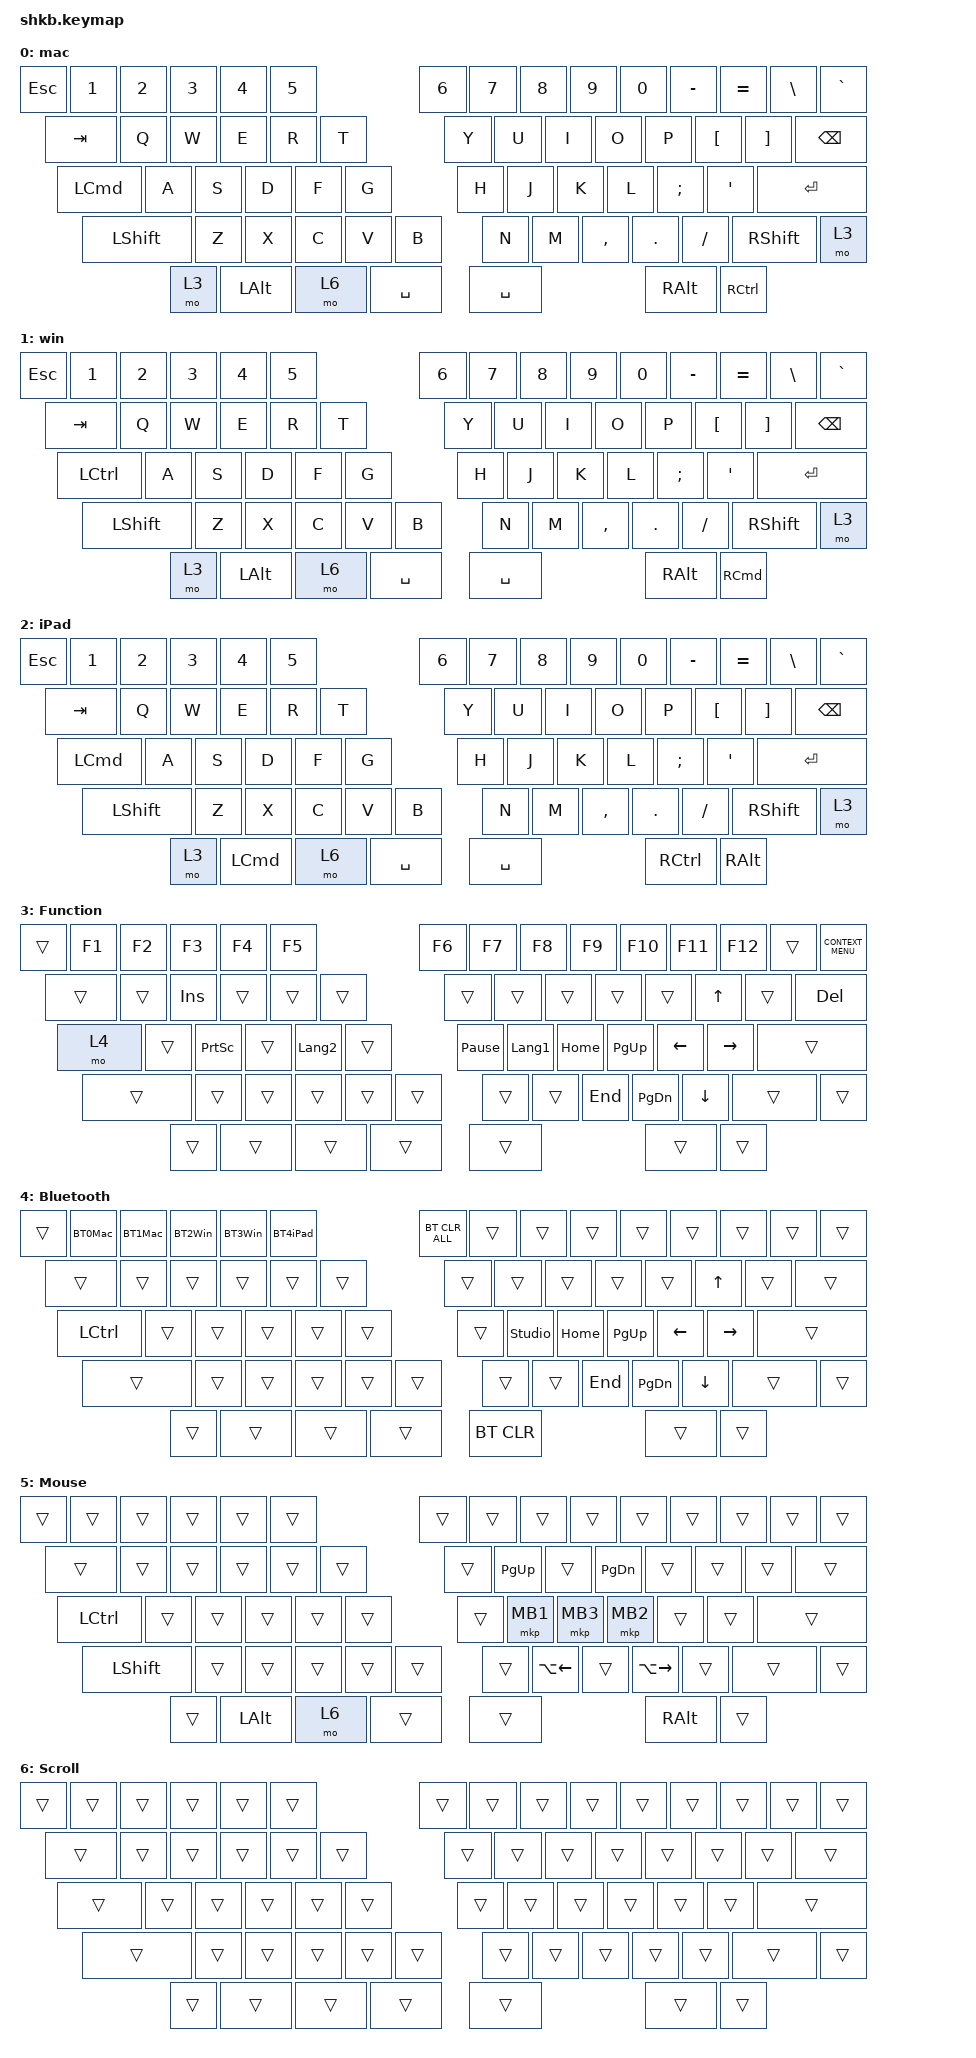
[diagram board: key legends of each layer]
#include <behaviors.dtsi>
#include <dt-bindings/zmk/bt.h>
#include <dt-bindings/zmk/keys.h>
#include <dt-bindings/zmk/pointing.h>

/*
 * 62-key Split HHKB layout
 *
 * Row 0 (15): ESC 1  2  3  4  5  | 6  7  8  9  0  -  =  \  `
 * Row 1 (14): TAB Q  W  E  R  T  | Y  U  I  O  P  [  ]  BSPC
 * Row 2 (13): CTL A  S  D  F  G  | H  J  K  L  ;  '  ENT
 * Row 3 (13): SFT Z  X  C  V  B  | N  M  ,  .  /  SFT UP
 * Row 4 ( 7): FN  CTL ALT SPC    | RALT GUI CTL
 */

&mt {
    flavor = "balanced";
    quick-tap-ms = <0>;
};

/ {
    chosen {
        zmk,keymap = &keymap;

        /* zmk,matrix-transform is intentionally absent: the transform is resolved
         * through zmk,physical-layout (set in each shield overlay) so that
         * USE_PHY_LAYOUTS=true, which ZMK Studio requires. */
    };

    macros {
        to_layer_0: to_layer_0 {
            compatible = "zmk,behavior-macro-one-param";
            #binding-cells = <1>;
            bindings = <&to 0 &macro_param_1to1 &kp MACRO_PLACEHOLDER>;
            label = "TO_LAYER_0";
        };

        BT0Mac: BT0Mac {
            compatible = "zmk,behavior-macro";
            #binding-cells = <0>;
            bindings = <&bt BT_SEL 0 &to 0>;
            label = "BT0MAC";
        };

        BT1Mac: BT1Mac {
            compatible = "zmk,behavior-macro";
            #binding-cells = <0>;
            bindings = <&bt BT_SEL 1 &to 0>;
            label = "BT1MAC";
        };

        BT2Win: BT2Win {
            compatible = "zmk,behavior-macro";
            #binding-cells = <0>;
            bindings = <&bt BT_SEL 2 &to 1>;
            label = "BT2WIN";
        };

        BT3Win: BT3Win {
            compatible = "zmk,behavior-macro";
            #binding-cells = <0>;
            bindings = <&bt BT_SEL 3 &to 1>;
            label = "BT3WIN";
        };

        BT4iPad: BT4iPad {
            compatible = "zmk,behavior-macro";
            #binding-cells = <0>;
            bindings = <&bt BT_SEL 4 &to 2>;
            label = "BT4IPAD";
        };
    };

    behaviors {
        lt_to_layer_0: lt_to_layer_0 {
            compatible = "zmk,behavior-hold-tap";
            label = "LT_TO_LAYER_0";
            bindings = <&mo>, <&to_layer_0>;

            #binding-cells = <2>;
            tapping-term-ms = <200>;
        };
    };

    combos {
        compatible = "zmk,combos";

        ScrollLayer {
            bindings = <&mo 6>;
            key-positions = <36 37>;
        };
    };

    keymap: keymap {
        compatible = "zmk,keymap";

        /* ---------------------------------------------------------------
         * Layer 0 – Default (HHKB base)
         * --------------------------------------------------------------- */

        mac {
            display-name = "mac";
            bindings = <
&kp ESC           &kp N1  &kp N2  &kp N3  &kp N4        &kp N5               &kp N6  &kp N7     &kp N8     &kp N9             &kp N0    &kp MINUS  &kp EQUAL  &kp BSLH  &kp GRAVE
&kp TAB           &kp Q   &kp W   &kp E   &kp R         &kp T                &kp Y   &kp U      &kp I      &kp O              &kp P     &kp LBKT   &kp RBKT   &kp BSPC
&kp LEFT_COMMAND  &kp A   &kp S   &kp D   &kp F         &kp G                &kp H   &kp J      &kp K      &kp L              &kp SEMI  &kp SQT    &kp RET
&kp LSHFT         &kp Z   &kp X   &kp C   &kp V         &kp B                &kp N   &kp M      &kp COMMA  &kp DOT            &kp FSLH  &kp RSHFT  &mo 3
                                  &mo 3   &kp LEFT_ALT  &mo 6   &kp SPACE            &kp SPACE  &kp RALT   &kp RIGHT_CONTROL
            >;
        };

        win {
            display-name = "win";
            bindings = <
&kp ESC           &kp N1  &kp N2  &kp N3  &kp N4        &kp N5               &kp N6  &kp N7     &kp N8         &kp N9             &kp N0    &kp MINUS  &kp EQUAL  &kp BSLH  &kp GRAVE
&kp TAB           &kp Q   &kp W   &kp E   &kp R         &kp T                &kp Y   &kp U      &kp I          &kp O              &kp P     &kp LBKT   &kp RBKT   &kp BSPC
&kp LEFT_CONTROL  &kp A   &kp S   &kp D   &kp F         &kp G                &kp H   &kp J      &kp K          &kp L              &kp SEMI  &kp SQT    &kp RET
&kp LSHFT         &kp Z   &kp X   &kp C   &kp V         &kp B                &kp N   &kp M      &kp COMMA      &kp DOT            &kp FSLH  &kp RSHFT  &mo 3
                                  &mo 3   &kp LEFT_ALT  &mo 6   &kp SPACE            &kp SPACE  &kp RIGHT_ALT  &kp RIGHT_COMMAND
            >;
        };

        /* Layer 2 – iPad (temporary: reuses the mac layout as-is) */

        iPad {
            display-name = "iPad";
            bindings = <
&kp ESC           &kp N1  &kp N2  &kp N3  &kp N4            &kp N5               &kp N6  &kp N7     &kp N8             &kp N9         &kp N0    &kp MINUS  &kp EQUAL  &kp BSLH  &kp GRAVE
&kp TAB           &kp Q   &kp W   &kp E   &kp R             &kp T                &kp Y   &kp U      &kp I              &kp O          &kp P     &kp LBKT   &kp RBKT   &kp BSPC
&kp LEFT_COMMAND  &kp A   &kp S   &kp D   &kp F             &kp G                &kp H   &kp J      &kp K              &kp L          &kp SEMI  &kp SQT    &kp RET
&kp LSHFT         &kp Z   &kp X   &kp C   &kp V             &kp B                &kp N   &kp M      &kp COMMA          &kp DOT        &kp FSLH  &kp RSHFT  &mo 3
                                  &mo 3   &kp LEFT_COMMAND  &mo 6   &kp SPACE            &kp SPACE  &kp RIGHT_CONTROL  &kp RIGHT_ALT
            >;
        };

        Number {
            display-name = "Function";
            bindings = <
&trans  &kp F1  &kp F2           &kp F3  &kp F4          &kp F5            &kp F6           &kp F7          &kp F8    &kp F9         &kp F10   &kp F11    &kp F12  &trans   &kp K_CONTEXT_MENU
&trans  &trans  &kp INS          &trans  &trans          &trans            &trans           &trans          &trans    &trans         &trans    &kp UP     &trans   &kp DEL
&mo 4   &trans  &kp PRINTSCREEN  &trans  &kp LANGUAGE_2  &trans            &kp PAUSE_BREAK  &kp LANGUAGE_1  &kp HOME  &kp PAGE_UP    &kp LEFT  &kp RIGHT  &trans
&trans  &trans  &trans           &trans  &trans          &trans            &trans           &trans          &kp END   &kp PAGE_DOWN  &kp DOWN  &trans     &trans
                                 &trans  &trans          &trans  &trans                     &trans          &trans    &trans
            >;
        };

        Bluetooth {
            display-name = "Bluetooth";
            bindings = <
&trans            &BT0Mac  &BT1Mac  &BT2Win  &BT3Win  &BT4iPad            &bt BT_CLR_ALL  &trans          &trans    &trans         &trans    &trans     &trans  &trans  &trans
&trans            &trans   &trans   &trans   &trans   &trans              &trans          &trans          &trans    &trans         &trans    &kp UP     &trans  &trans
&kp LEFT_CONTROL  &trans   &trans   &trans   &trans   &trans              &trans          &studio_unlock  &kp HOME  &kp PAGE_UP    &kp LEFT  &kp RIGHT  &trans
&trans            &trans   &trans   &trans   &trans   &trans              &trans          &trans          &kp END   &kp PAGE_DOWN  &kp DOWN  &trans     &trans
                                    &trans   &trans   &trans    &trans                    &bt BT_CLR      &trans    &trans
            >;
        };

        Mouse {
            display-name = "Mouse";
            bindings = <
&trans            &trans  &trans  &trans  &trans    &trans            &trans  &trans              &trans    &trans               &trans  &trans  &trans  &trans  &trans
&trans            &trans  &trans  &trans  &trans    &trans            &trans  &kp PAGE_UP         &trans    &kp PAGE_DOWN        &trans  &trans  &trans  &trans
&kp LEFT_CONTROL  &trans  &trans  &trans  &trans    &trans            &trans  &mkp MB1            &mkp MB3  &mkp MB2             &trans  &trans  &trans
&kp LEFT_SHIFT    &trans  &trans  &trans  &trans    &trans            &trans  &kp LA(LEFT_ARROW)  &trans    &kp LA(RIGHT_ARROW)  &trans  &trans  &trans
                                  &trans  &kp LALT  &mo 6   &trans            &trans              &kp RALT  &trans
            >;
        };

        scroll {
            display-name = "Scroll";
            bindings = <
&trans  &trans  &trans  &trans  &trans  &trans            &trans  &trans  &trans  &trans  &trans  &trans  &trans  &trans  &trans
&trans  &trans  &trans  &trans  &trans  &trans            &trans  &trans  &trans  &trans  &trans  &trans  &trans  &trans
&trans  &trans  &trans  &trans  &trans  &trans            &trans  &trans  &trans  &trans  &trans  &trans  &trans
&trans  &trans  &trans  &trans  &trans  &trans            &trans  &trans  &trans  &trans  &trans  &trans  &trans
                        &trans  &trans  &trans  &trans            &trans  &trans  &trans
            >;
        };
    };
};
